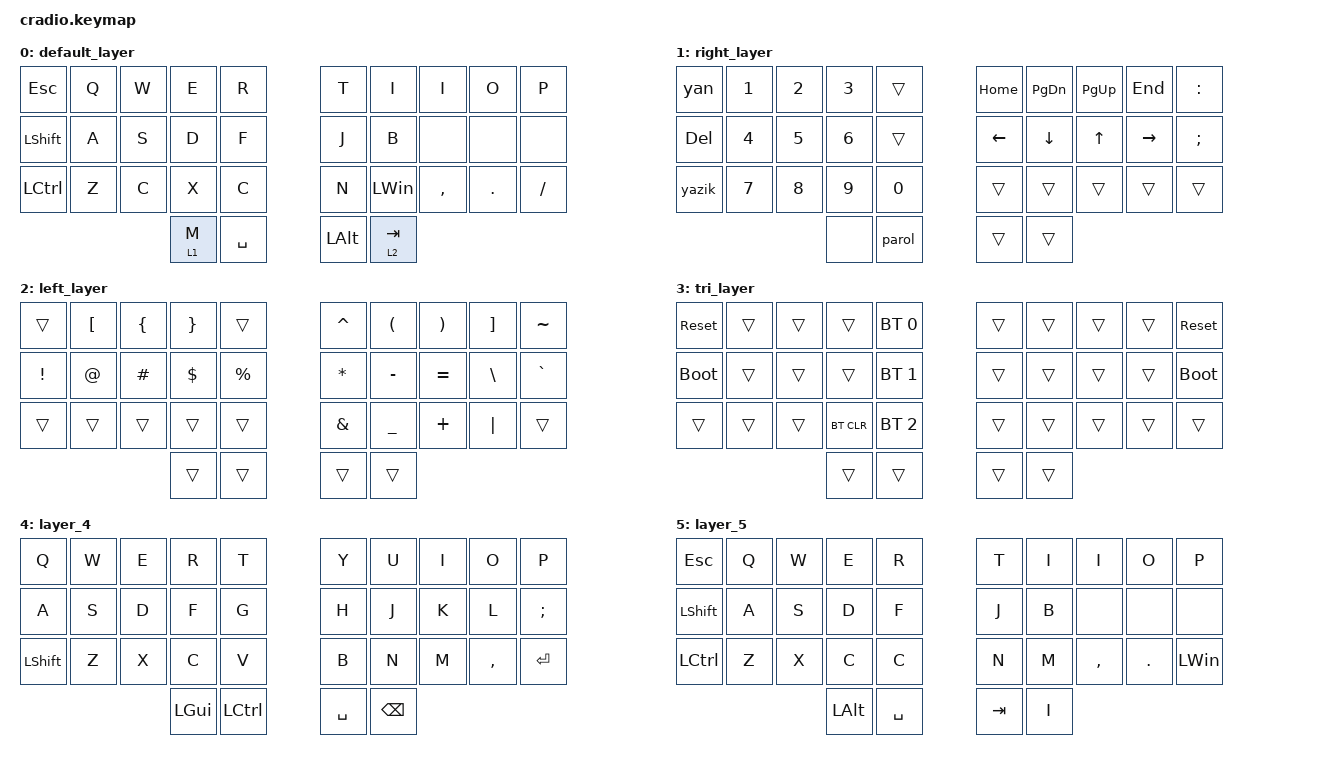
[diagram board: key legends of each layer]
// Copyright (c) 2022 The ZMK Contributors
// SPDX-License-Identifier: MIT

#include <behaviors.dtsi>
#include <dt-bindings/zmk/bt.h>
#include <dt-bindings/zmk/keys.h>

/ {
    behaviors {
        ht: hold_tap {
            compatible = "zmk,behavior-hold-tap";
            #binding-cells = <2>;
            flavor = "tap-preferred";
            tapping-term-ms = <220>;
            quick-tap-ms = <150>;
            require-prior-idle-ms = <100>;
            bindings = <&kp>, <&kp>;
        };

        tumbler: tumbler {
            compatible = "zmk,behavior-toggle-layer";
            label = "TUMBLER";
            #binding-cells = <1>;
        };
    };

    conditional_layers {
        compatible = "zmk,conditional-layers";

        tri_layer {
            if-layers = <1 2>;
            then-layer = <3>;
        };
    };

    macros {
        yan: yan {
            compatible = "zmk,behavior-macro";
            #binding-cells = <0>;
            bindings = <&kp N5 &kp N8 &kp N5 &kp N4 &kp N5 &kp N6 &kp N5 &kp N2 &kp LS(Q) &kp Q &kp ENTER>;
            label = "YAN";
        };

        parol: parol {
            compatible = "zmk,behavior-macro";
            #binding-cells = <0>;
            bindings = <&kp C &kp N &kp H &kp F &kp N &kp J &kp C &kp A &kp T &kp H &kp F &kp ENTER>;
            label = "parol";
        };

        yazik: yazik {
            compatible = "zmk,behavior-macro";
            #binding-cells = <0>;
            bindings = <&kp LA(LEFT_SHIFT)>;
            label = "yazik";
        };
    };

    combos {
        compatible = "zmk,combos";

        four_liyer {
            bindings = <&tog 4>;
            key-positions = <0 9>;
            timeout-ms = <30>;
            require-prior-idle-ms = <29>;
            layers = <0 5>;
        };

        def {
            bindings = <&to 0>;
            key-positions = <9 29>;
            timeout-ms = <30>;
            require-prior-idle-ms = <30>;
            layers = <5 4>;
        };

        lang {
            bindings = <&yazik>;
            key-positions = <1 2>;
            timeout-ms = <20>;
            require-prior-idle-ms = <20>;
            layers = <4>;
        };

        last {
            bindings = <&to 5>;
            key-positions = <9 19>;
            timeout-ms = <10>;
            require-prior-idle-ms = <10>;
            layers = <0 4>;
        };

        volup {
            bindings = <&mt C_VOL_UP K_MUTE>;
            key-positions = <21 20>;
            timeout-ms = <10>;
            require-prior-idle-ms = <5>;
            layers = <4 5>;
        };
    };

    keymap {
        compatible = "zmk,keymap";

        default_layer {
            bindings = <
&kp ESCAPE      &kp Q  &kp W  &kp E    &kp R        &kp T         &kp I         &kp I      &kp O    &kp P
&kp LEFT_SHIFT  &kp A  &kp S  &kp D    &kp F        &kp J         &kp B         &none      &none    &none
&kp LCTRL       &kp Z  &kp C  &kp X    &kp C        &kp N         &kp LEFT_WIN  &kp COMMA  &kp DOT  &kp FSLH
                              &lt 1 M  &kp SPACE    &kp LEFT_ALT  &lt 2 TAB
            >;
        };

        right_layer {
            bindings = <
&yan     &kp N1  &kp N2  &kp N3  &trans    &kp HOME  &kp PG_DN  &kp PG_UP  &kp END    &kp COLON
&kp DEL  &kp N4  &kp N5  &kp N6  &trans    &kp LEFT  &kp DOWN   &kp UP     &kp RIGHT  &kp SEMI
&yazik   &kp N7  &kp N8  &kp N9  &kp N0    &trans    &trans     &trans     &trans     &trans
                         &none   &parol    &trans    &trans
            >;
        };

        left_layer {
            bindings = <
&trans    &kp LBKT  &kp LBRC  &kp RBRC  &trans       &kp CARET  &kp LPAR   &kp RPAR   &kp RBKT  &kp TILDE
&kp EXCL  &kp AT    &kp HASH  &kp DLLR  &kp PRCNT    &kp ASTRK  &kp MINUS  &kp EQUAL  &kp BSLH  &kp GRAVE
&trans    &trans    &trans    &trans    &trans       &kp AMPS   &kp UNDER  &kp PLUS   &kp PIPE  &trans
                              &trans    &trans       &trans     &trans
            >;
        };

        tri_layer {
            bindings = <
&sys_reset   &trans  &trans  &trans      &bt BT_SEL 0    &trans  &trans  &trans  &trans  &sys_reset
&bootloader  &trans  &trans  &trans      &bt BT_SEL 1    &trans  &trans  &trans  &trans  &bootloader
&trans       &trans  &trans  &bt BT_CLR  &bt BT_SEL 2    &trans  &trans  &trans  &trans  &trans
                             &trans      &trans          &trans  &trans
            >;
        };

        layer_4 {
            bindings = <
&kp Q      &kp W  &kp E  &kp R     &kp T        &kp Y      &kp U          &kp I  &kp O      &kp P
&kp A      &kp S  &kp D  &kp F     &kp G        &kp H      &kp J          &kp K  &kp L      &kp SEMI
&kp LSHFT  &kp Z  &kp X  &kp C     &kp V        &kp B      &kp N          &kp M  &kp COMMA  &kp ENTER
                         &kp LGUI  &kp LCTRL    &kp SPACE  &kp BACKSPACE
            >;
        };

        layer_5 {
            bindings = <
&kp ESCAPE      &kp Q  &kp W  &kp E     &kp R        &kp T    &kp I  &kp I      &kp O    &kp P
&kp LEFT_SHIFT  &kp A  &kp S  &kp D     &kp F        &kp J    &kp B  &none      &none    &none
&kp LCTRL       &kp Z  &kp X  &kp C     &kp C        &kp N    &kp M  &kp COMMA  &kp DOT  &kp LEFT_WIN
                              &kp LALT  &kp SPACE    &kp TAB  &kp I
            >;
        };
    };
};
